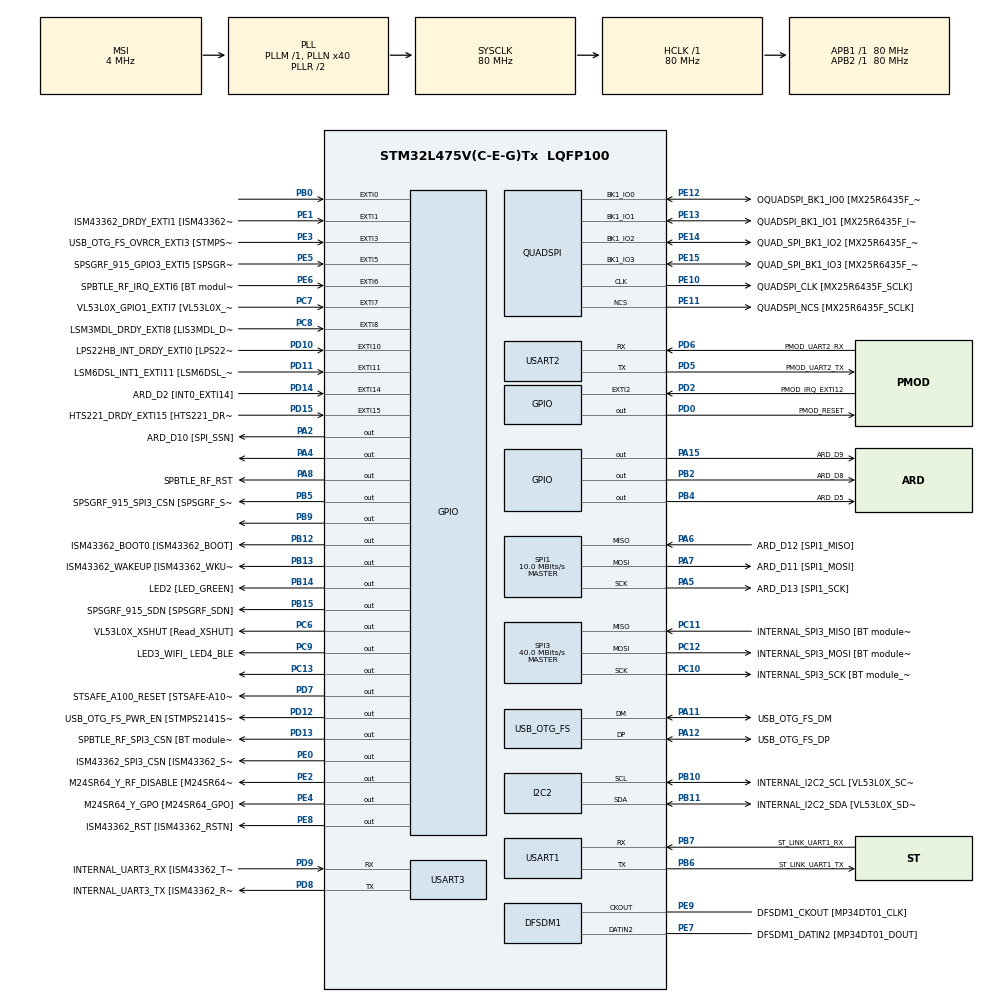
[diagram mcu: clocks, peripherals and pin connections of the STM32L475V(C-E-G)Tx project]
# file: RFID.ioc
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I2C2.Timing=0x10D19CE4
Mcu.Family=STM32L4
Mcu.Name=STM32L475V(C-E-G)Tx
Mcu.Package=LQFP100
NVIC.EXTI15_10_IRQn=true\:0\:0\:false\:false\:true\:true\:true\:true
NVIC.EXTI9_5_IRQn=true\:0\:0\:false\:false\:true\:true\:true\:true
NVIC.PriorityGroup=NVIC_PRIORITYGROUP_4
PA0.GPIO_Label=ARD_D1 [UART4_TX]
PA0.Signal=UART4_TX
PA1.GPIO_Label=ARD_D0 [UART4_RX]
PA1.Signal=UART4_RX
PA10.GPIO_Label=USB_OTG_FS_ID
PA10.Signal=USB_OTG_FS_ID
PA11.GPIO_Label=USB_OTG_FS_DM
PA11.Mode=Device_Only
PA11.Signal=USB_OTG_FS_DM
PA12.GPIO_Label=USB_OTG_FS_DP
PA12.Mode=Device_Only
PA12.Signal=USB_OTG_FS_DP
PA13\ (JTMS-SWDIO).GPIO_Label=SYS_JTMS_SWDIO
PA13\ (JTMS-SWDIO).Mode=Serial_Wire
PA13\ (JTMS-SWDIO).Signal=SYS_JTMS-SWDIO
PA14\ (JTCK-SWCLK).GPIO_Label=SYS_JTCK_SWCLK
PA14\ (JTCK-SWCLK).Mode=Serial_Wire
PA14\ (JTCK-SWCLK).Signal=SYS_JTCK-SWCLK
PA15\ (JTDI).GPIO_Label=ARD_D9
PA15\ (JTDI).Signal=GPIO_Output
PA2.GPIO_Label=ARD_D10 [SPI_SSN]
PA2.Signal=GPIO_Output
PA3.GPIO_Label=ARD_D4
PA3.Signal=S_TIM2_CH4
PA4.Signal=GPIO_Output
PA5.GPIO_Label=ARD_D13 [SPI1_SCK]
PA5.Mode=Full_Duplex_Master
PA5.Signal=SPI1_SCK
PA6.GPIO_Label=ARD_D12 [SPI1_MISO]
PA6.Mode=Full_Duplex_Master
PA6.Signal=SPI1_MISO
PA7.GPIO_Label=ARD_D11 [SPI1_MOSI]
PA7.Mode=Full_Duplex_Master
PA7.Signal=SPI1_MOSI
PA8.GPIO_Label=SPBTLE_RF_RST
PA8.Signal=GPIO_Output
PA9.GPIO_Label=USB_OTG_FS_VBUS [STMPS2141STR_OUT]
PA9.Signal=USB_OTG_FS_VBUS
PB0.Signal=GPXTI0
PB1.GPIO_Label=ARD_D6 [ADC1_IN6]
PB1.Signal=ADCx_IN16
PB10.GPIO_Label=INTERNAL_I2C2_SCL [VL53L0X_SCL]
PB10.GPIO_Pu=GPIO_PULLUP
PB10.Mode=I2C
PB10.Signal=I2C2_SCL
PB11.GPIO_Label=INTERNAL_I2C2_SDA [VL53L0X_SDA]
PB11.GPIO_Pu=GPIO_PULLUP
PB11.Mode=I2C
PB11.Signal=I2C2_SDA
PB12.GPIO_Label=ISM43362_BOOT0 [ISM43362_BOOT]
PB12.Signal=GPIO_Output
PB13.GPIO_Label=ISM43362_WAKEUP [ISM43362_WKUP]
PB13.Signal=GPIO_Output
PB14.GPIO_Label=LED2 [LED_GREEN]
PB14.Signal=GPIO_Output
PB15.GPIO_Label=SPSGRF_915_SDN [SPSGRF_SDN]
PB15.Signal=GPIO_Output
PB2.GPIO_Label=ARD_D8
PB2.Signal=GPIO_Output
PB3\ (JTDO-TRACESWO).GPIO_Label=SYS_JTD0_SWO
PB3\ (JTDO-TRACESWO).Signal=SYS_JTDO-SWO
PB4\ (NJTRST).GPIO_Label=ARD_D5
PB4\ (NJTRST).Signal=GPIO_Output
PB5.GPIO_Label=SPSGRF_915_SPI3_CSN [SPSGRF_SPI_CS]
PB5.PinState=GPIO_PIN_SET
PB5.Signal=GPIO_Output
PB6.GPIO_Label=ST_LINK_UART1_TX
PB6.Mode=Asynchronous
PB6.Signal=USART1_TX
PB7.GPIO_Label=ST_LINK_UART1_RX
PB7.Mode=Asynchronous
PB7.Signal=USART1_RX
PB8.GPIO_Label=ARD_D15 [I2C1_SCL]
PB8.Signal=I2C1_SCL
PB9.Signal=GPIO_Output
PC0.GPIO_Label=ARD_A5 [ADC]
PC0.Signal=ADCx_IN1
PC1.GPIO_Label=ARD_A4 [ADC]
PC1.Signal=ADCx_IN2
PC10.GPIO_Label=INTERNAL_SPI3_SCK [BT module_SPI_SCLK] [ISM43362_SCK]
PC10.Mode=Full_Duplex_Master
PC10.Signal=SPI3_SCK
PC11.GPIO_Label=INTERNAL_SPI3_MISO [BT module_SPI_MISO] [ISM43362_MISO]
PC11.Mode=Full_Duplex_Master
PC11.Signal=SPI3_MISO
PC12.GPIO_Label=INTERNAL_SPI3_MOSI [BT module_SPI_MOSI] [ISM43362_MOSI]
PC12.Mode=Full_Duplex_Master
PC12.Signal=SPI3_MOSI
PC13.Signal=GPIO_Output
PC14-OSC32_IN\ (PC14).Mode=LSE-External-Oscillator
PC14-OSC32_IN\ (PC14).Signal=RCC_OSC32_IN
PC15-OSC32_OUT\ (PC15).Mode=LSE-External-Oscillator
PC15-OSC32_OUT\ (PC15).Signal=RCC_OSC32_OUT
PC2.GPIO_Label=ARD_A3 [ADC]
PC2.Signal=ADCx_IN3
PC3.GPIO_Label=ARD_A2 [ADC]
PC3.Signal=ADCx_IN4
PC4.GPIO_Label=ARD_A1 [ADC]
PC4.Signal=ADCx_IN13
PC5.GPIO_Label=ARD_A0 [ADC]
PC5.Signal=ADCx_IN14
PC6.GPIO_Label=VL53L0X_XSHUT [Read_XSHUT]
PC6.Signal=GPIO_Output
PC7.GPIO_Label=VL53L0X_GPIO1_EXTI7 [VL53L0X_GPIO1]
PC7.Signal=GPXTI7
PC8.GPIO_Label=LSM3MDL_DRDY_EXTI8 [LIS3MDL_DRDY]
PC8.Signal=GPXTI8
PC9.GPIO_Label=LED3_WIFI_ LED4_BLE
PC9.Signal=GPIO_Output
PD0.GPIO_Label=PMOD_RESET
PD0.Signal=GPIO_Output
PD1.GPIO_Label=PMOD_SPI2_SCK
PD1.Signal=SPI2_SCK
PD10.GPIO_Label=LPS22HB_INT_DRDY_EXTI0 [LPS22HB_INT_DRDY] 
PD10.Signal=GPXTI10
PD11.GPIO_Label=LSM6DSL_INT1_EXTI11 [LSM6DSL_INT1]
PD11.Signal=GPXTI11
PD12.GPIO_Label=USB_OTG_FS_PWR_EN [STMPS2141STR_EN]
PD12.Signal=GPIO_Output
PD13.GPIO_Label=SPBTLE_RF_SPI3_CSN [BT module_SPI_CS]
PD13.PinState=GPIO_PIN_SET
PD13.Signal=GPIO_Output
PD14.GPIO_Label=ARD_D2 [INT0_EXTI14]
PD14.Signal=GPXTI14
PD15.GPIO_Label=HTS221_DRDY_EXTI15 [HTS221_DRDY]
PD15.Signal=GPXTI15
PD2.GPIO_Label=PMOD_IRQ_EXTI12
PD2.Signal=GPXTI2
PD3.GPIO_Label=PMOD_UART2_CTS
PD3.Signal=USART2_CTS
PD4.GPIO_Label=PMOD_UART2_RTS
PD4.Signal=USART2_RTS
PD5.GPIO_Label=PMOD_UART2_TX
PD5.Mode=Asynchronous
PD5.Signal=USART2_TX
PD6.GPIO_Label=PMOD_UART2_RX
PD6.Mode=Asynchronous
PD6.Signal=USART2_RX
PD7.GPIO_Label=STSAFE_A100_RESET [STSAFE-A100_RESET]
PD7.Signal=GPIO_Output
PD8.GPIO_Label=INTERNAL_UART3_TX [ISM43362_RX]
PD8.Mode=Asynchronous
PD8.Signal=USART3_TX
PD9.GPIO_Label=INTERNAL_UART3_RX [ISM43362_TX]
PD9.Mode=Asynchronous
PD9.Signal=USART3_RX
PE0.GPIO_Label=ISM43362_SPI3_CSN [ISM43362_SSN]
PE0.PinState=GPIO_PIN_SET
PE0.Signal=GPIO_Output
PE1.GPIO_Label=ISM43362_DRDY_EXTI1 [ISM43362_DATARDY]
PE1.Signal=GPXTI1
PE10.GPIO_Label=QUADSPI_CLK [MX25R6435F_SCLK]
PE10.Mode=Single Bank
PE10.Signal=QUADSPI_CLK
PE11.GPIO_Label=QUADSPI_NCS [MX25R6435F_SCLK]
PE11.Mode=Single Bank
PE11.Signal=QUADSPI_NCS
PE12.GPIO_Label=OQUADSPI_BK1_IO0 [MX25R6435F_IO0]
PE12.Mode=Single Bank
PE12.Signal=QUADSPI_BK1_IO0
PE13.GPIO_Label=QUADSPI_BK1_IO1 [MX25R6435F_IO1]
PE13.Mode=Single Bank
PE13.Signal=QUADSPI_BK1_IO1
PE14.GPIO_Label=QUAD_SPI_BK1_IO2 [MX25R6435F_IO2]
PE14.Mode=Single Bank
PE14.Signal=QUADSPI_BK1_IO2
PE15.GPIO_Label=QUAD_SPI_BK1_IO3 [MX25R6435F_IO3]
PE15.Mode=Single Bank
PE15.Signal=QUADSPI_BK1_IO3
PE2.GPIO_Label=M24SR64_Y_RF_DISABLE [M24SR64_RFDIS]
PE2.Signal=GPIO_Output
PE3.GPIO_Label=USB_OTG_FS_OVRCR_EXTI3 [STMPS2141STR_FAULT]
PE3.Signal=GPXTI3
PE4.GPIO_Label=M24SR64_Y_GPO [M24SR64_GPO]
PE4.Signal=GPIO_Output
PE5.GPIO_Label=SPSGRF_915_GPIO3_EXTI5 [SPSGRF_GPIO_3]
PE5.Signal=GPXTI5
PE6.GPIO_Label=SPBTLE_RF_IRQ_EXTI6 [BT module_SPI_IRQ]
PE6.Signal=GPXTI6
PE7.GPIO_Label=DFSDM1_DATIN2 [MP34DT01_DOUT]
PE7.Signal=S_DATAIN2DFSDM1
PE8.GPIO_Label=ISM43362_RST [ISM43362_RSTN]
PE8.Signal=GPIO_Output
PE9.GPIO_Label=DFSDM1_CKOUT [MP34DT01_CLK]
PE9.Signal=S_CKOUTDFSDM1
PH0-OSC_IN\ (PH0).Mode=HSE-External-Oscillator
PH0-OSC_IN\ (PH0).Signal=RCC_OSC_IN
PH1-OSC_OUT\ (PH1).Mode=HSE-External-Oscillator
PH1-OSC_OUT\ (PH1).Signal=RCC_OSC_OUT
ProjectManager.HeapSize=0x200
ProjectManager.StackSize=0x400
ProjectManager.TargetToolchain=STM32CubeIDE
QUADSPI.ClockPrescaler=2
QUADSPI.FifoThreshold=4
QUADSPI.FlashSize=23
QUADSPI.SampleShifting=QSPI_SAMPLE_SHIFTING_HALFCYCLE
RCC.ADCFreq_Value=48000000
RCC.AHBFreq_Value=80000000
RCC.APB1Freq_Value=80000000
RCC.APB1TimFreq_Value=80000000
RCC.APB2Freq_Value=80000000
RCC.APB2TimFreq_Value=80000000
RCC.CortexFreq_Value=80000000
RCC.HCLKFreq_Value=80000000
RCC.HSE_VALUE=8000000
RCC.HSI_VALUE=16000000
RCC.MSI_VALUE=4000000
RCC.PLLN=40
RCC.PLLSAI1N=24
RCC.SYSCLKFreq_VALUE=80000000
RCC.SYSCLKSource=RCC_SYSCLKSOURCE_PLLCLK
RCC.USBFreq_Value=48000000
RCC.VCOOutputFreq_Value=160000000
SH.ADCx_IN1.0=ADC1_IN1
SH.ADCx_IN13.0=ADC1_IN13
SH.ADCx_IN14.0=ADC1_IN14
SH.ADCx_IN16.0=ADC1_IN16
SH.ADCx_IN2.0=ADC1_IN2
SH.ADCx_IN3.0=ADC1_IN3
SH.ADCx_IN4.0=ADC1_IN4
SH.S_CKOUTDFSDM1.0=DFSDM1_CKOUT,CKOUT
SH.S_CKOUTDFSDM1.1=DFSDM1_CKOUT,PDM_SPI_Input_from_ch12_and_Internal_Clock
SH.S_DATAIN2DFSDM1.0=DFSDM1_DATIN2,PDM_SPI_Input_from_ch12_and_Internal_Clock
SH.S_TIM2_CH4.0=TIM2_CH4
SPI1.BaudRatePrescaler=SPI_BAUDRATEPRESCALER_8
SPI1.CalculateBaudRate=10.0 MBits/s
SPI1.Direction=SPI_DIRECTION_2LINES
SPI1.Mode=SPI_MODE_MASTER
SPI1.VirtualType=VM_MASTER
SPI3.CalculateBaudRate=40.0 MBits/s
SPI3.Direction=SPI_DIRECTION_2LINES
SPI3.Mode=SPI_MODE_MASTER
SPI3.VirtualType=VM_MASTER
USART1.VirtualMode-Asynchronous=VM_ASYNC
USART2.VirtualMode-Asynchronous=VM_ASYNC
USART3.VirtualMode-Asynchronous=VM_ASYNC
USB_OTG_FS.VirtualMode=Device_Only
board=B-L475E-IOT01A2

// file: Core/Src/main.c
/* USER CODE BEGIN Header */
/**
  ******************************************************************************
  * @file           : main.c
  * @brief          : Main program body
  ******************************************************************************
  * @attention
  *
  * Copyright (c) 2025 STMicroelectronics.
  * All rights reserved.
  *
  * This software is licensed under terms that can be found in the LICENSE file
  * in the root directory of this software component.
  * If no LICENSE file comes with this software, it is provided AS-IS.
  *
  ******************************************************************************
  */
/* USER CODE END Header */
#include "main.h"

/* USER CODE BEGIN Includes */
#include "rc522.h"
#include "string.h"
#include <stdio.h>
/* USER CODE END Includes */

DFSDM_Channel_HandleTypeDef hdfsdm1_channel1;

I2C_HandleTypeDef hi2c2;

QSPI_HandleTypeDef hqspi;

SPI_HandleTypeDef hspi1;
SPI_HandleTypeDef hspi3;

UART_HandleTypeDef huart1;
UART_HandleTypeDef huart2;
UART_HandleTypeDef huart3;

PCD_HandleTypeDef hpcd_USB_OTG_FS;

/* USER CODE BEGIN PV */
uint8_t status;
uint8_t str[MAX_LEN]; // Max_LEN = 16
uint8_t sNum[5];
char *msg1 = "Reading From Card\r\n";
char *msg2 = "Reading From Tag\r\n";
char *msg3 = "Place card to read\r\n";
/* USER CODE END PV */

void SystemClock_Config(void);
static void MX_GPIO_Init(void);
static void MX_DFSDM1_Init(void);
static void MX_I2C2_Init(void);
static void MX_QUADSPI_Init(void);
static void MX_SPI3_Init(void);
static void MX_USART1_UART_Init(void);
static void MX_USART3_UART_Init(void);
static void MX_USB_OTG_FS_PCD_Init(void);
static void MX_SPI1_Init(void);
static void MX_USART2_UART_Init(void);

/* USER CODE BEGIN 0 */
int __io_putchar(int ch)
{
	HAL_UART_Transmit(&huart1, (uint8_t *)&ch, 1, 0xFFFF);
	return ch;
}
/* USER CODE END 0 */

int main(void)
{

  /* MCU Configuration--------------------------------------------------------*/

  /* Reset of all peripherals, Initializes the Flash interface and the Systick. */
  HAL_Init();

  /* Configure the system clock */
  SystemClock_Config();

  /* Initialize all configured peripherals */
  MX_GPIO_Init();
  MX_DFSDM1_Init();
  MX_I2C2_Init();
  MX_QUADSPI_Init();
  MX_SPI3_Init();
  MX_USART1_UART_Init();
  MX_USART3_UART_Init();
  MX_USB_OTG_FS_PCD_Init();
  MX_SPI1_Init();
  MX_USART2_UART_Init();
  /* USER CODE BEGIN 2 */
  MFRC522_Init();
  printf("rc522 init\n");
  uchar ver = Read_MFRC522(0x37);  // VersionReg
  printf("MFRC522 VersionReg = 0x%02X\n", ver);
  /* USER CODE END 2 */

  /* Infinite loop */
  /* USER CODE BEGIN WHILE */
  while (1)
  {
	  	status = MFRC522_Request(PICC_REQIDL, str);
//	  	printf("status:%d\n",status);
		if (status == MI_OK)
		{
			printf("Card detected\n");

			status = MFRC522_Anticoll(str);
			if (status == MI_OK)
			{
				memcpy(sNum, str, 5);
//				lastScanTime=HAL_GetTick();
				printf("Card UID: %02X %02X %02X %02X %02X\n",
					   sNum[0], sNum[1], sNum[2], sNum[3], sNum[4]);
//				sprintf(TxData, "%02X %02X %02X %02X %02X\n",
//						sNum[0], sNum[1], sNum[2], sNum[3], sNum[4]);
//				ret = WIFI_SendData(Socket, TxData, sizeof(TxData), &Datalen, WIFI_WRITE_TIMEOUT);
//				if (ret != WIFI_STATUS_OK)
//				{
//					printf("> ERROR : Failed to Send Data, connection closed\n");
//				  break;
//				}

			}
		}
		HAL_Delay(100);
// }
    /* USER CODE END WHILE */

  }
}

void SystemClock_Config(void)
{
  RCC_OscInitTypeDef RCC_OscInitStruct = {0};
  RCC_ClkInitTypeDef RCC_ClkInitStruct = {0};

  /** Configure the main internal regulator output voltage
  */
  if (HAL_PWREx_ControlVoltageScaling(PWR_REGULATOR_VOLTAGE_SCALE1) != HAL_OK)
  {
    Error_Handler();
  }

  /** Configure LSE Drive Capability
  */
  HAL_PWR_EnableBkUpAccess();
  __HAL_RCC_LSEDRIVE_CONFIG(RCC_LSEDRIVE_LOW);

  /** Initializes the RCC Oscillators according to the specified parameters
  * in the RCC_OscInitTypeDef structure.
  */
  RCC_OscInitStruct.OscillatorType = RCC_OSCILLATORTYPE_LSE|RCC_OSCILLATORTYPE_MSI;
  RCC_OscInitStruct.LSEState = RCC_LSE_ON;
  RCC_OscInitStruct.MSIState = RCC_MSI_ON;
  RCC_OscInitStruct.MSICalibrationValue = 0;
  RCC_OscInitStruct.MSIClockRange = RCC_MSIRANGE_6;
  RCC_OscInitStruct.PLL.PLLState = RCC_PLL_ON;
  RCC_OscInitStruct.PLL.PLLSource = RCC_PLLSOURCE_MSI;
  RCC_OscInitStruct.PLL.PLLM = 1;
  RCC_OscInitStruct.PLL.PLLN = 40;
  RCC_OscInitStruct.PLL.PLLP = RCC_PLLP_DIV7;
  RCC_OscInitStruct.PLL.PLLQ = RCC_PLLQ_DIV2;
  RCC_OscInitStruct.PLL.PLLR = RCC_PLLR_DIV2;
  if (HAL_RCC_OscConfig(&RCC_OscInitStruct) != HAL_OK)
  {
    Error_Handler();
  }

  /** Initializes the CPU, AHB and APB buses clocks
  */
  RCC_ClkInitStruct.ClockType = RCC_CLOCKTYPE_HCLK|RCC_CLOCKTYPE_SYSCLK
                              |RCC_CLOCKTYPE_PCLK1|RCC_CLOCKTYPE_PCLK2;
  RCC_ClkInitStruct.SYSCLKSource = RCC_SYSCLKSOURCE_PLLCLK;
  RCC_ClkInitStruct.AHBCLKDivider = RCC_SYSCLK_DIV1;
  RCC_ClkInitStruct.APB1CLKDivider = RCC_HCLK_DIV1;
  RCC_ClkInitStruct.APB2CLKDivider = RCC_HCLK_DIV1;

  if (HAL_RCC_ClockConfig(&RCC_ClkInitStruct, FLASH_LATENCY_4) != HAL_OK)
  {
    Error_Handler();
  }

  /** Enable MSI Auto calibration
  */
  HAL_RCCEx_EnableMSIPLLMode();
}

static void MX_DFSDM1_Init(void)
{

  hdfsdm1_channel1.Instance = DFSDM1_Channel1;
  hdfsdm1_channel1.Init.OutputClock.Activation = ENABLE;
  hdfsdm1_channel1.Init.OutputClock.Selection = DFSDM_CHANNEL_OUTPUT_CLOCK_SYSTEM;
  hdfsdm1_channel1.Init.OutputClock.Divider = 2;
  hdfsdm1_channel1.Init.Input.Multiplexer = DFSDM_CHANNEL_EXTERNAL_INPUTS;
  hdfsdm1_channel1.Init.Input.DataPacking = DFSDM_CHANNEL_STANDARD_MODE;
  hdfsdm1_channel1.Init.Input.Pins = DFSDM_CHANNEL_FOLLOWING_CHANNEL_PINS;
  hdfsdm1_channel1.Init.SerialInterface.Type = DFSDM_CHANNEL_SPI_RISING;
  hdfsdm1_channel1.Init.SerialInterface.SpiClock = DFSDM_CHANNEL_SPI_CLOCK_INTERNAL;
  hdfsdm1_channel1.Init.Awd.FilterOrder = DFSDM_CHANNEL_FASTSINC_ORDER;
  hdfsdm1_channel1.Init.Awd.Oversampling = 1;
  hdfsdm1_channel1.Init.Offset = 0;
  hdfsdm1_channel1.Init.RightBitShift = 0x00;
  if (HAL_DFSDM_ChannelInit(&hdfsdm1_channel1) != HAL_OK)
  {
    Error_Handler();
  }

}

static void MX_I2C2_Init(void)
{

  hi2c2.Instance = I2C2;
  hi2c2.Init.Timing = 0x10D19CE4;
  hi2c2.Init.OwnAddress1 = 0;
  hi2c2.Init.AddressingMode = I2C_ADDRESSINGMODE_7BIT;
  hi2c2.Init.DualAddressMode = I2C_DUALADDRESS_DISABLE;
  hi2c2.Init.OwnAddress2 = 0;
  hi2c2.Init.OwnAddress2Masks = I2C_OA2_NOMASK;
  hi2c2.Init.GeneralCallMode = I2C_GENERALCALL_DISABLE;
  hi2c2.Init.NoStretchMode = I2C_NOSTRETCH_DISABLE;
  if (HAL_I2C_Init(&hi2c2) != HAL_OK)
  {
    Error_Handler();
  }

  /** Configure Analogue filter
  */
  if (HAL_I2CEx_ConfigAnalogFilter(&hi2c2, I2C_ANALOGFILTER_ENABLE) != HAL_OK)
  {
    Error_Handler();
  }

  /** Configure Digital filter
  */
  if (HAL_I2CEx_ConfigDigitalFilter(&hi2c2, 0) != HAL_OK)
  {
    Error_Handler();
  }

}

static void MX_QUADSPI_Init(void)
{

  /* QUADSPI parameter configuration*/
  hqspi.Instance = QUADSPI;
  hqspi.Init.ClockPrescaler = 2;
  hqspi.Init.FifoThreshold = 4;
  hqspi.Init.SampleShifting = QSPI_SAMPLE_SHIFTING_HALFCYCLE;
  hqspi.Init.FlashSize = 23;
  hqspi.Init.ChipSelectHighTime = QSPI_CS_HIGH_TIME_1_CYCLE;
  hqspi.Init.ClockMode = QSPI_CLOCK_MODE_0;
  if (HAL_QSPI_Init(&hqspi) != HAL_OK)
  {
    Error_Handler();
  }

}

static void MX_SPI1_Init(void)
{

  /* SPI1 parameter configuration*/
  hspi1.Instance = SPI1;
  hspi1.Init.Mode = SPI_MODE_MASTER;
  hspi1.Init.Direction = SPI_DIRECTION_2LINES;
  hspi1.Init.DataSize = SPI_DATASIZE_8BIT;
  hspi1.Init.CLKPolarity = SPI_POLARITY_LOW;
  hspi1.Init.CLKPhase = SPI_PHASE_1EDGE;
  hspi1.Init.NSS = SPI_NSS_SOFT;
  hspi1.Init.BaudRatePrescaler = SPI_BAUDRATEPRESCALER_8;
  hspi1.Init.FirstBit = SPI_FIRSTBIT_MSB;
  hspi1.Init.TIMode = SPI_TIMODE_DISABLE;
  hspi1.Init.CRCCalculation = SPI_CRCCALCULATION_DISABLE;
  hspi1.Init.CRCPolynomial = 7;
  hspi1.Init.CRCLength = SPI_CRC_LENGTH_DATASIZE;
  hspi1.Init.NSSPMode = SPI_NSS_PULSE_ENABLE;
  if (HAL_SPI_Init(&hspi1) != HAL_OK)
  {
    Error_Handler();
  }

}

static void MX_SPI3_Init(void)
{

  /* SPI3 parameter configuration*/
  hspi3.Instance = SPI3;
  hspi3.Init.Mode = SPI_MODE_MASTER;
  hspi3.Init.Direction = SPI_DIRECTION_2LINES;
  hspi3.Init.DataSize = SPI_DATASIZE_4BIT;
  hspi3.Init.CLKPolarity = SPI_POLARITY_LOW;
  hspi3.Init.CLKPhase = SPI_PHASE_1EDGE;
  hspi3.Init.NSS = SPI_NSS_SOFT;
  hspi3.Init.BaudRatePrescaler = SPI_BAUDRATEPRESCALER_2;
  hspi3.Init.FirstBit = SPI_FIRSTBIT_MSB;
  hspi3.Init.TIMode = SPI_TIMODE_DISABLE;
  hspi3.Init.CRCCalculation = SPI_CRCCALCULATION_DISABLE;
  hspi3.Init.CRCPolynomial = 7;
  hspi3.Init.CRCLength = SPI_CRC_LENGTH_DATASIZE;
  hspi3.Init.NSSPMode = SPI_NSS_PULSE_ENABLE;
  if (HAL_SPI_Init(&hspi3) != HAL_OK)
  {
    Error_Handler();
  }

}

static void MX_USART1_UART_Init(void)
{

  huart1.Instance = USART1;
  huart1.Init.BaudRate = 115200;
  huart1.Init.WordLength = UART_WORDLENGTH_8B;
  huart1.Init.StopBits = UART_STOPBITS_1;
  huart1.Init.Parity = UART_PARITY_NONE;
  huart1.Init.Mode = UART_MODE_TX_RX;
  huart1.Init.HwFlowCtl = UART_HWCONTROL_NONE;
  huart1.Init.OverSampling = UART_OVERSAMPLING_16;
  huart1.Init.OneBitSampling = UART_ONE_BIT_SAMPLE_DISABLE;
  huart1.AdvancedInit.AdvFeatureInit = UART_ADVFEATURE_NO_INIT;
  if (HAL_UART_Init(&huart1) != HAL_OK)
  {
    Error_Handler();
  }

}

static void MX_USART2_UART_Init(void)
{

  huart2.Instance = USART2;
  huart2.Init.BaudRate = 115200;
  huart2.Init.WordLength = UART_WORDLENGTH_8B;
  huart2.Init.StopBits = UART_STOPBITS_1;
  huart2.Init.Parity = UART_PARITY_NONE;
  huart2.Init.Mode = UART_MODE_TX_RX;
  huart2.Init.HwFlowCtl = UART_HWCONTROL_NONE;
  huart2.Init.OverSampling = UART_OVERSAMPLING_16;
  huart2.Init.OneBitSampling = UART_ONE_BIT_SAMPLE_DISABLE;
  huart2.AdvancedInit.AdvFeatureInit = UART_ADVFEATURE_NO_INIT;
  if (HAL_UART_Init(&huart2) != HAL_OK)
  {
    Error_Handler();
  }

}

static void MX_USART3_UART_Init(void)
{

  huart3.Instance = USART3;
  huart3.Init.BaudRate = 115200;
  huart3.Init.WordLength = UART_WORDLENGTH_8B;
  huart3.Init.StopBits = UART_STOPBITS_1;
  huart3.Init.Parity = UART_PARITY_NONE;
  huart3.Init.Mode = UART_MODE_TX_RX;
  huart3.Init.HwFlowCtl = UART_HWCONTROL_NONE;
  huart3.Init.OverSampling = UART_OVERSAMPLING_16;
  huart3.Init.OneBitSampling = UART_ONE_BIT_SAMPLE_DISABLE;
  huart3.AdvancedInit.AdvFeatureInit = UART_ADVFEATURE_NO_INIT;
  if (HAL_UART_Init(&huart3) != HAL_OK)
  {
    Error_Handler();
  }

}

static void MX_USB_OTG_FS_PCD_Init(void)
{

  hpcd_USB_OTG_FS.Instance = USB_OTG_FS;
  hpcd_USB_OTG_FS.Init.dev_endpoints = 6;
  hpcd_USB_OTG_FS.Init.speed = PCD_SPEED_FULL;
  hpcd_USB_OTG_FS.Init.phy_itface = PCD_PHY_EMBEDDED;
  hpcd_USB_OTG_FS.Init.Sof_enable = DISABLE;
  hpcd_USB_OTG_FS.Init.low_power_enable = DISABLE;
  hpcd_USB_OTG_FS.Init.lpm_enable = DISABLE;
  hpcd_USB_OTG_FS.Init.battery_charging_enable = DISABLE;
  hpcd_USB_OTG_FS.Init.use_dedicated_ep1 = DISABLE;
  hpcd_USB_OTG_FS.Init.vbus_sensing_enable = DISABLE;
  if (HAL_PCD_Init(&hpcd_USB_OTG_FS) != HAL_OK)
  {
    Error_Handler();
  }

}

static void MX_GPIO_Init(void)
{
  GPIO_InitTypeDef GPIO_InitStruct = {0};

  /* GPIO Ports Clock Enable */
  __HAL_RCC_GPIOE_CLK_ENABLE();
  __HAL_RCC_GPIOC_CLK_ENABLE();
  __HAL_RCC_GPIOH_CLK_ENABLE();
  __HAL_RCC_GPIOA_CLK_ENABLE();
  __HAL_RCC_GPIOB_CLK_ENABLE();
  __HAL_RCC_GPIOD_CLK_ENABLE();

  /*Configure GPIO pin Output Level */
  HAL_GPIO_WritePin(GPIOE, M24SR64_Y_RF_DISABLE_Pin|M24SR64_Y_GPO_Pin|ISM43362_RST_Pin, GPIO_PIN_RESET);

  /*Configure GPIO pin Output Level */
  HAL_GPIO_WritePin(GPIOC, GPIO_PIN_13|VL53L0X_XSHUT_Pin|LED3_WIFI__LED4_BLE_Pin, GPIO_PIN_RESET);

  /*Configure GPIO pin Output Level */
  HAL_GPIO_WritePin(GPIOA, ARD_D10_Pin|GPIO_PIN_4|SPBTLE_RF_RST_Pin|ARD_D9_Pin, GPIO_PIN_RESET);

  /*Configure GPIO pin Output Level */
  HAL_GPIO_WritePin(GPIOB, ARD_D8_Pin|ISM43362_BOOT0_Pin|ISM43362_WAKEUP_Pin|LED2_Pin
                          |SPSGRF_915_SDN_Pin|ARD_D5_Pin|GPIO_PIN_9, GPIO_PIN_RESET);

  /*Configure GPIO pin Output Level */
  HAL_GPIO_WritePin(GPIOD, USB_OTG_FS_PWR_EN_Pin|PMOD_RESET_Pin|STSAFE_A100_RESET_Pin, GPIO_PIN_RESET);

  /*Configure GPIO pin Output Level */
  HAL_GPIO_WritePin(SPBTLE_RF_SPI3_CSN_GPIO_Port, SPBTLE_RF_SPI3_CSN_Pin, GPIO_PIN_SET);

  /*Configure GPIO pin Output Level */
  HAL_GPIO_WritePin(SPSGRF_915_SPI3_CSN_GPIO_Port, SPSGRF_915_SPI3_CSN_Pin, GPIO_PIN_SET);

  /*Configure GPIO pin Output Level */
  HAL_GPIO_WritePin(ISM43362_SPI3_CSN_GPIO_Port, ISM43362_SPI3_CSN_Pin, GPIO_PIN_SET);

  /*Configure GPIO pins : M24SR64_Y_RF_DISABLE_Pin M24SR64_Y_GPO_Pin ISM43362_RST_Pin ISM43362_SPI3_CSN_Pin */
  GPIO_InitStruct.Pin = M24SR64_Y_RF_DISABLE_Pin|M24SR64_Y_GPO_Pin|ISM43362_RST_Pin|ISM43362_SPI3_CSN_Pin;
  GPIO_InitStruct.Mode = GPIO_MODE_OUTPUT_PP;
  GPIO_InitStruct.Pull = GPIO_NOPULL;
  GPIO_InitStruct.Speed = GPIO_SPEED_FREQ_LOW;
  HAL_GPIO_Init(GPIOE, &GPIO_InitStruct);

  /*Configure GPIO pins : USB_OTG_FS_OVRCR_EXTI3_Pin SPSGRF_915_GPIO3_EXTI5_Pin SPBTLE_RF_IRQ_EXTI6_Pin ISM43362_DRDY_EXTI1_Pin */
  GPIO_InitStruct.Pin = USB_OTG_FS_OVRCR_EXTI3_Pin|SPSGRF_915_GPIO3_EXTI5_Pin|SPBTLE_RF_IRQ_EXTI6_Pin|ISM43362_DRDY_EXTI1_Pin;
  GPIO_InitStruct.Mode = GPIO_MODE_IT_RISING;
  GPIO_InitStruct.Pull = GPIO_NOPULL;
  HAL_GPIO_Init(GPIOE, &GPIO_InitStruct);

  /*Configure GPIO pins : PC13 VL53L0X_XSHUT_Pin LED3_WIFI__LED4_BLE_Pin */
  GPIO_InitStruct.Pin = GPIO_PIN_13|VL53L0X_XSHUT_Pin|LED3_WIFI__LED4_BLE_Pin;
  GPIO_InitStruct.Mode = GPIO_MODE_OUTPUT_PP;
  GPIO_InitStruct.Pull = GPIO_NOPULL;
  GPIO_InitStruct.Speed = GPIO_SPEED_FREQ_LOW;
  HAL_GPIO_Init(GPIOC, &GPIO_InitStruct);

  /*Configure GPIO pins : ARD_A5_Pin ARD_A4_Pin ARD_A3_Pin ARD_A2_Pin
                           ARD_A1_Pin ARD_A0_Pin */
  GPIO_InitStruct.Pin = ARD_A5_Pin|ARD_A4_Pin|ARD_A3_Pin|ARD_A2_Pin
                          |ARD_A1_Pin|ARD_A0_Pin;
  GPIO_InitStruct.Mode = GPIO_MODE_ANALOG_ADC_CONTROL;
  GPIO_InitStruct.Pull = GPIO_NOPULL;
  HAL_GPIO_Init(GPIOC, &GPIO_InitStruct);

  /*Configure GPIO pins : ARD_D1_Pin ARD_D0_Pin */
  GPIO_InitStruct.Pin = ARD_D1_Pin|ARD_D0_Pin;
  GPIO_InitStruct.Mode = GPIO_MODE_AF_PP;
  GPIO_InitStruct.Pull = GPIO_NOPULL;
  GPIO_InitStruct.Speed = GPIO_SPEED_FREQ_VERY_HIGH;
  GPIO_InitStruct.Alternate = GPIO_AF8_UART4;
  HAL_GPIO_Init(GPIOA, &GPIO_InitStruct);

  /*Configure GPIO pins : ARD_D10_Pin PA4 SPBTLE_RF_RST_Pin ARD_D9_Pin */
  GPIO_InitStruct.Pin = ARD_D10_Pin|GPIO_PIN_4|SPBTLE_RF_RST_Pin|ARD_D9_Pin;
  GPIO_InitStruct.Mode = GPIO_MODE_OUTPUT_PP;
  GPIO_InitStruct.Pull = GPIO_NOPULL;
  GPIO_InitStruct.Speed = GPIO_SPEED_FREQ_LOW;
  HAL_GPIO_Init(GPIOA, &GPIO_InitStruct);

  /*Configure GPIO pin : ARD_D4_Pin */
  GPIO_InitStruct.Pin = ARD_D4_Pin;
  GPIO_InitStruct.Mode = GPIO_MODE_AF_PP;
  GPIO_InitStruct.Pull = GPIO_NOPULL;
  GPIO_InitStruct.Speed = GPIO_SPEED_FREQ_LOW;
  GPIO_InitStruct.Alternate = GPIO_AF1_TIM2;
  HAL_GPIO_Init(ARD_D4_GPIO_Port, &GPIO_InitStruct);

  /*Configure GPIO pin : PB0 */
  GPIO_InitStruct.Pin = GPIO_PIN_0;
  GPIO_InitStruct.Mode = GPIO_MODE_IT_RISING;
  GPIO_InitStruct.Pull = GPIO_NOPULL;
  HAL_GPIO_Init(GPIOB, &GPIO_InitStruct);

  /*Configure GPIO pin : ARD_D6_Pin */
  GPIO_InitStruct.Pin = ARD_D6_Pin;
  GPIO_InitStruct.Mode = GPIO_MODE_ANALOG_ADC_CONTROL;
  GPIO_InitStruct.Pull = GPIO_NOPULL;
  HAL_GPIO_Init(ARD_D6_GPIO_Port, &GPIO_InitStruct);

  /*Configure GPIO pins : ARD_D8_Pin ISM43362_BOOT0_Pin ISM43362_WAKEUP_Pin LED2_Pin
                           SPSGRF_915_SDN_Pin ARD_D5_Pin SPSGRF_915_SPI3_CSN_Pin PB9 */
  GPIO_InitStruct.Pin = ARD_D8_Pin|ISM43362_BOOT0_Pin|ISM43362_WAKEUP_Pin|LED2_Pin
                          |SPSGRF_915_SDN_Pin|ARD_D5_Pin|SPSGRF_915_SPI3_CSN_Pin|GPIO_PIN_9;
  GPIO_InitStruct.Mode = GPIO_MODE_OUTPUT_PP;
  GPIO_InitStruct.Pull = GPIO_NOPULL;
  GPIO_InitStruct.Speed = GPIO_SPEED_FREQ_LOW;
  HAL_GPIO_Init(GPIOB, &GPIO_InitStruct);

  /*Configure GPIO pins : LPS22HB_INT_DRDY_EXTI0_Pin LSM6DSL_INT1_EXTI11_Pin ARD_D2_Pin HTS221_DRDY_EXTI15_Pin
                           PMOD_IRQ_EXTI12_Pin */
  GPIO_InitStruct.Pin = LPS22HB_INT_DRDY_EXTI0_Pin|LSM6DSL_INT1_EXTI11_Pin|ARD_D2_Pin|HTS221_DRDY_EXTI15_Pin
                          |PMOD_IRQ_EXTI12_Pin;
  GPIO_InitStruct.Mode = GPIO_MODE_IT_RISING;
  GPIO_InitStruct.Pull = GPIO_NOPULL;
  HAL_GPIO_Init(GPIOD, &GPIO_InitStruct);

  /*Configure GPIO pins : USB_OTG_FS_PWR_EN_Pin SPBTLE_RF_SPI3_CSN_Pin PMOD_RESET_Pin STSAFE_A100_RESET_Pin */
  GPIO_InitStruct.Pin = USB_OTG_FS_PWR_EN_Pin|SPBTLE_RF_SPI3_CSN_Pin|PMOD_RESET_Pin|STSAFE_A100_RESET_Pin;
  GPIO_InitStruct.Mode = GPIO_MODE_OUTPUT_PP;
  GPIO_InitStruct.Pull = GPIO_NOPULL;
  GPIO_InitStruct.Speed = GPIO_SPEED_FREQ_LOW;
  HAL_GPIO_Init(GPIOD, &GPIO_InitStruct);

  /*Configure GPIO pins : VL53L0X_GPIO1_EXTI7_Pin LSM3MDL_DRDY_EXTI8_Pin */
  GPIO_InitStruct.Pin = VL53L0X_GPIO1_EXTI7_Pin|LSM3MDL_DRDY_EXTI8_Pin;
  GPIO_InitStruct.Mode = GPIO_MODE_IT_RISING;
  GPIO_InitStruct.Pull = GPIO_NOPULL;
  HAL_GPIO_Init(GPIOC, &GPIO_InitStruct);

  /*Configure GPIO pin : PMOD_SPI2_SCK_Pin */
  GPIO_InitStruct.Pin = PMOD_SPI2_SCK_Pin;
  GPIO_InitStruct.Mode = GPIO_MODE_AF_PP;
  GPIO_InitStruct.Pull = GPIO_NOPULL;
  GPIO_InitStruct.Speed = GPIO_SPEED_FREQ_VERY_HIGH;
  GPIO_InitStruct.Alternate = GPIO_AF5_SPI2;
  HAL_GPIO_Init(PMOD_SPI2_SCK_GPIO_Port, &GPIO_InitStruct);

  /*Configure GPIO pin : ARD_D15_Pin */
  GPIO_InitStruct.Pin = ARD_D15_Pin;
  GPIO_InitStruct.Mode = GPIO_MODE_AF_OD;
  GPIO_InitStruct.Pull = GPIO_NOPULL;
  GPIO_InitStruct.Speed = GPIO_SPEED_FREQ_VERY_HIGH;
  GPIO_InitStruct.Alternate = GPIO_AF4_I2C1;
  HAL_GPIO_Init(ARD_D15_GPIO_Port, &GPIO_InitStruct);

  /* EXTI interrupt init*/
  HAL_NVIC_SetPriority(EXTI9_5_IRQn, 0, 0);
  HAL_NVIC_EnableIRQ(EXTI9_5_IRQn);

  HAL_NVIC_SetPriority(EXTI15_10_IRQn, 0, 0);
  HAL_NVIC_EnableIRQ(EXTI15_10_IRQn);

}

void Error_Handler(void)
{
  __disable_irq();
  while (1)
  {
  }
}
